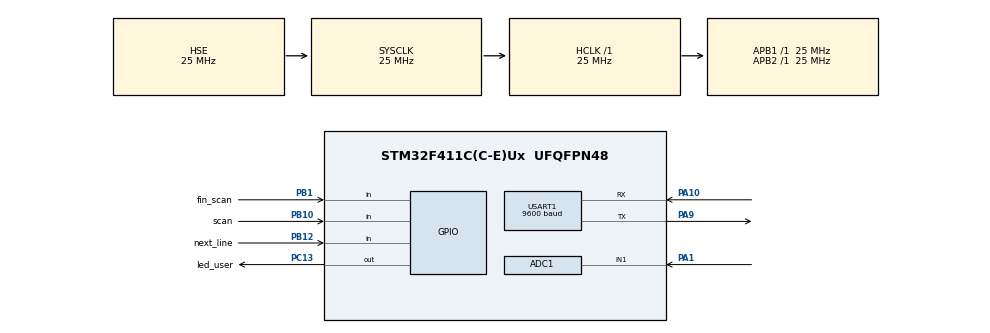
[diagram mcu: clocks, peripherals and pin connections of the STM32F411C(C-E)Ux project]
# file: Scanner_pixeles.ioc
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ADC1.Channel-7\#ChannelRegularConversion=ADC_CHANNEL_1
ADC1.NbrOfConversionFlag=1
ADC1.Rank-7\#ChannelRegularConversion=1
ADC1.SamplingTime-7\#ChannelRegularConversion=ADC_SAMPLETIME_480CYCLES
ADC1.master=1
Mcu.Family=STM32F4
Mcu.Name=STM32F411C(C-E)Ux
Mcu.Package=UFQFPN48
NVIC.PriorityGroup=NVIC_PRIORITYGROUP_4
NVIC.USART1_IRQn=true\:0\:0\:false\:false\:true\:true\:true\:true
PA1.GPIO_Mode=GPIO_MODE_ANALOG
PA1.GPIO_PuPd=GPIO_NOPULL
PA1.Signal=SharedAnalog_PA1
PA10.Mode=Asynchronous
PA10.Signal=USART1_RX
PA13.Mode=Serial_Wire
PA13.Signal=SYS_JTMS-SWDIO
PA14.Mode=Serial_Wire
PA14.Signal=SYS_JTCK-SWCLK
PA9.Mode=Asynchronous
PA9.Signal=USART1_TX
PB1.GPIO_Label=fin_scan
PB1.GPIO_PuPd=GPIO_PULLUP
PB1.Signal=GPIO_Input
PB10.GPIO_Label=scan
PB10.GPIO_PuPd=GPIO_PULLUP
PB10.Signal=GPIO_Input
PB12.GPIO_Label=next_line
PB12.GPIO_PuPd=GPIO_PULLUP
PB12.Signal=GPIO_Input
PC13-ANTI_TAMP.GPIO_Label=led_user
PC13-ANTI_TAMP.GPIO_ModeDefaultOutputPP=GPIO_MODE_OUTPUT_OD
PC13-ANTI_TAMP.GPIO_PuPd=GPIO_NOPULL
PC13-ANTI_TAMP.Signal=GPIO_Output
PC14-OSC32_IN.Mode=LSE-External-Oscillator
PC14-OSC32_IN.Signal=RCC_OSC32_IN
PC15-OSC32_OUT.Mode=LSE-External-Oscillator
PC15-OSC32_OUT.Signal=RCC_OSC32_OUT
PH0\ -\ OSC_IN.Mode=HSE-External-Oscillator
PH0\ -\ OSC_IN.Signal=RCC_OSC_IN
PH1\ -\ OSC_OUT.Mode=HSE-External-Oscillator
PH1\ -\ OSC_OUT.Signal=RCC_OSC_OUT
ProjectManager.HeapSize=0x200
ProjectManager.StackSize=0x400
ProjectManager.TargetToolchain=STM32CubeIDE
RCC.48MHZClocksFreq_Value=48000000
RCC.AHBFreq_Value=25000000
RCC.APB1Freq_Value=25000000
RCC.APB1TimFreq_Value=25000000
RCC.APB2Freq_Value=25000000
RCC.APB2TimFreq_Value=25000000
RCC.CortexFreq_Value=25000000
RCC.HCLKFreq_Value=25000000
RCC.HSE_VALUE=25000000
RCC.HSI_VALUE=16000000
RCC.SYSCLKFreq_VALUE=25000000
RCC.SYSCLKSource=RCC_SYSCLKSOURCE_HSE
RCC.VCOOutputFreq_Value=192000000
SH.SharedAnalog_PA1.0=GPIO_Analog
SH.SharedAnalog_PA1.1=ADC1_IN1,IN1
USART1.BaudRate=9600
USART1.VirtualMode=VM_ASYNC
board=custom

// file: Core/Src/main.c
/* USER CODE BEGIN Header */
/**
  ******************************************************************************
  * @file           : main.c
  * @brief          : Main program body
  ******************************************************************************
  * @attention
  *
  * Copyright (c) 2024 STMicroelectronics.
  * All rights reserved.
  *
  * This software is licensed under terms that can be found in the LICENSE file
  * in the root directory of this software component.
  * If no LICENSE file comes with this software, it is provided AS-IS.
  *
  ******************************************************************************
  */
/* USER CODE END Header */
#include "main.h"

/* USER CODE BEGIN Includes */
#include "stdio.h"
#include "string.h"
#include "stdint.h"
#include "stdlib.h"
/* USER CODE END Includes */

ADC_HandleTypeDef hadc1;

UART_HandleTypeDef huart1;

/* USER CODE BEGIN PV */
uint8_t latch; //transición de estados signal
uint16_t adc_lec; //almacena el raw del adc

uint16_t borde_negro = 0;
uint16_t borde_blanco = 0;

char msg[9]; //bufer uart
uint8_t mcu_byte; //buffer de entrada de mcu externo
/* USER CODE END PV */

void SystemClock_Config(void);
static void MX_GPIO_Init(void);
static void MX_ADC1_Init(void);
static void MX_USART1_UART_Init(void);

int main(void)
{

  /* MCU Configuration--------------------------------------------------------*/

  /* Reset of all peripherals, Initializes the Flash interface and the Systick. */
  HAL_Init();

  /* Configure the system clock */
  SystemClock_Config();

  /* Initialize all configured peripherals */
  MX_GPIO_Init();
  MX_ADC1_Init();
  MX_USART1_UART_Init();
  /* USER CODE BEGIN 2 */

  HAL_ADC_Start(&hadc1);
  HAL_UART_Receive_IT(&huart1, &mcu_byte, 1);

  //CALIBRAR
  for (int i = 0; i < 10; ++i) {
		  HAL_GPIO_TogglePin(led_user_GPIO_Port, led_user_Pin);
		  HAL_Delay(250);

		  HAL_ADC_Start(&hadc1);
		  HAL_ADC_PollForConversion(&hadc1, 25);//msec
		  borde_blanco += (HAL_ADC_GetValue(&hadc1)/10);
	  }

  borde_blanco += 1000;

  borde_negro = borde_blanco + 500;
  /* USER CODE END 2 */

  /* Infinite loop */
  while (1)
  {

    /* USER CODE BEGIN 3 */
	  latch = 1;
	  while(latch){//Eseramos que python acbe de crear sus cosas raras
		  HAL_GPIO_TogglePin(led_user_GPIO_Port, led_user_Pin);

		  //MANDA_FIN_CALABRIRACION
		  strcpy(msg,"all_ok\r\n");
		  HAL_UART_Transmit(&huart1, (uint8_t *)msg, strlen(msg), HAL_MAX_DELAY);
		  HAL_Delay(5000);
	  }

	  //ESCANEO
	  	  //scaneo horizontal
	  	  //scaneo sig
	  latch = 1;
	  while(latch){

		  if (!HAL_GPIO_ReadPin(scan_GPIO_Port, scan_Pin)) { //horizontal
			  HAL_GPIO_WritePin(led_user_GPIO_Port, led_user_Pin, 0);
			  HAL_Delay(250);

			  //Sensamos
			  HAL_ADC_Start(&hadc1);
			  HAL_ADC_PollForConversion(&hadc1, 25);//msec
			  adc_lec = HAL_ADC_GetValue(&hadc1);

			  if (adc_lec > borde_negro){
				  sprintf(msg,"%dh    \r\n",1);
			  }
			  if(adc_lec < borde_blanco){
				  sprintf(msg,"%dh    \r\n",0);
			  }

			  //Mandamos sensado
			  HAL_UART_Transmit(&huart1, (uint8_t *)msg, strlen(msg), HAL_MAX_DELAY);
		  }

		  if (!HAL_GPIO_ReadPin(next_line_GPIO_Port, next_line_Pin)) { //salto vertical
			  HAL_GPIO_WritePin(led_user_GPIO_Port, led_user_Pin, 0);
			  HAL_Delay(250);

			  strcpy(msg,"v   \r\n");

			  //Mandamos sensado
			  HAL_UART_Transmit(&huart1, (uint8_t *)msg, strlen(msg), HAL_MAX_DELAY);
		  }

		  if (!HAL_GPIO_ReadPin(fin_scan_GPIO_Port, fin_scan_Pin)) { //fin de la sesion
			  HAL_GPIO_WritePin(led_user_GPIO_Port, led_user_Pin, 0);
			  HAL_Delay(250);

			  //Mandamos sensado
			  strcpy(msg,"fin   \r\n");
			  HAL_UART_Transmit(&huart1, (uint8_t *)msg, strlen(msg), HAL_MAX_DELAY);
		  }

		  HAL_GPIO_WritePin(led_user_GPIO_Port, led_user_Pin, 1);

	  }
	  //AVANZA ESTADO

  }
  /* USER CODE END 3 */
}

void SystemClock_Config(void)
{
  RCC_OscInitTypeDef RCC_OscInitStruct = {0};
  RCC_ClkInitTypeDef RCC_ClkInitStruct = {0};

  /** Configure the main internal regulator output voltage
  */
  __HAL_RCC_PWR_CLK_ENABLE();
  __HAL_PWR_VOLTAGESCALING_CONFIG(PWR_REGULATOR_VOLTAGE_SCALE1);

  /** Initializes the RCC Oscillators according to the specified parameters
  * in the RCC_OscInitTypeDef structure.
  */
  RCC_OscInitStruct.OscillatorType = RCC_OSCILLATORTYPE_HSE;
  RCC_OscInitStruct.HSEState = RCC_HSE_ON;
  RCC_OscInitStruct.PLL.PLLState = RCC_PLL_NONE;
  if (HAL_RCC_OscConfig(&RCC_OscInitStruct) != HAL_OK)
  {
    Error_Handler();
  }

  /** Initializes the CPU, AHB and APB buses clocks
  */
  RCC_ClkInitStruct.ClockType = RCC_CLOCKTYPE_HCLK|RCC_CLOCKTYPE_SYSCLK
                              |RCC_CLOCKTYPE_PCLK1|RCC_CLOCKTYPE_PCLK2;
  RCC_ClkInitStruct.SYSCLKSource = RCC_SYSCLKSOURCE_HSE;
  RCC_ClkInitStruct.AHBCLKDivider = RCC_SYSCLK_DIV1;
  RCC_ClkInitStruct.APB1CLKDivider = RCC_HCLK_DIV1;
  RCC_ClkInitStruct.APB2CLKDivider = RCC_HCLK_DIV1;

  if (HAL_RCC_ClockConfig(&RCC_ClkInitStruct, FLASH_LATENCY_0) != HAL_OK)
  {
    Error_Handler();
  }
}

static void MX_ADC1_Init(void)
{

  ADC_ChannelConfTypeDef sConfig = {0};

  /** Configure the global features of the ADC (Clock, Resolution, Data Alignment and number of conversion)
  */
  hadc1.Instance = ADC1;
  hadc1.Init.ClockPrescaler = ADC_CLOCK_SYNC_PCLK_DIV2;
  hadc1.Init.Resolution = ADC_RESOLUTION_12B;
  hadc1.Init.ScanConvMode = DISABLE;
  hadc1.Init.ContinuousConvMode = DISABLE;
  hadc1.Init.DiscontinuousConvMode = DISABLE;
  hadc1.Init.ExternalTrigConvEdge = ADC_EXTERNALTRIGCONVEDGE_NONE;
  hadc1.Init.ExternalTrigConv = ADC_SOFTWARE_START;
  hadc1.Init.DataAlign = ADC_DATAALIGN_RIGHT;
  hadc1.Init.NbrOfConversion = 1;
  hadc1.Init.DMAContinuousRequests = DISABLE;
  hadc1.Init.EOCSelection = ADC_EOC_SINGLE_CONV;
  if (HAL_ADC_Init(&hadc1) != HAL_OK)
  {
    Error_Handler();
  }

  /** Configure for the selected ADC regular channel its corresponding rank in the sequencer and its sample time.
  */
  sConfig.Channel = ADC_CHANNEL_1;
  sConfig.Rank = 1;
  sConfig.SamplingTime = ADC_SAMPLETIME_480CYCLES;
  if (HAL_ADC_ConfigChannel(&hadc1, &sConfig) != HAL_OK)
  {
    Error_Handler();
  }

}

static void MX_USART1_UART_Init(void)
{

  huart1.Instance = USART1;
  huart1.Init.BaudRate = 9600;
  huart1.Init.WordLength = UART_WORDLENGTH_8B;
  huart1.Init.StopBits = UART_STOPBITS_1;
  huart1.Init.Parity = UART_PARITY_NONE;
  huart1.Init.Mode = UART_MODE_TX_RX;
  huart1.Init.HwFlowCtl = UART_HWCONTROL_NONE;
  huart1.Init.OverSampling = UART_OVERSAMPLING_16;
  if (HAL_UART_Init(&huart1) != HAL_OK)
  {
    Error_Handler();
  }

}

static void MX_GPIO_Init(void)
{
  GPIO_InitTypeDef GPIO_InitStruct = {0};

  /* GPIO Ports Clock Enable */
  __HAL_RCC_GPIOC_CLK_ENABLE();
  __HAL_RCC_GPIOH_CLK_ENABLE();
  __HAL_RCC_GPIOA_CLK_ENABLE();
  __HAL_RCC_GPIOB_CLK_ENABLE();

  /*Configure GPIO pin Output Level */
  HAL_GPIO_WritePin(led_user_GPIO_Port, led_user_Pin, GPIO_PIN_RESET);

  /*Configure GPIO pin : led_user_Pin */
  GPIO_InitStruct.Pin = led_user_Pin;
  GPIO_InitStruct.Mode = GPIO_MODE_OUTPUT_OD;
  GPIO_InitStruct.Pull = GPIO_NOPULL;
  GPIO_InitStruct.Speed = GPIO_SPEED_FREQ_LOW;
  HAL_GPIO_Init(led_user_GPIO_Port, &GPIO_InitStruct);

  /*Configure GPIO pins : fin_scan_Pin scan_Pin next_line_Pin */
  GPIO_InitStruct.Pin = fin_scan_Pin|scan_Pin|next_line_Pin;
  GPIO_InitStruct.Mode = GPIO_MODE_INPUT;
  GPIO_InitStruct.Pull = GPIO_PULLUP;
  HAL_GPIO_Init(GPIOB, &GPIO_InitStruct);

}

/* USER CODE BEGIN 4 */

//INTERRUPCION AL RECIBIR INFO
void HAL_UART_RxCpltCallback(UART_HandleTypeDef *huart)
{
	//HAL_UART_Transmit(&huart1, &mcu_byte, 1, 250); //ECO

	if (mcu_byte == 'n') {
		latch = 0;//salimos del estado precente
	}

	HAL_UART_Receive_IT(&huart1, &mcu_byte, 1); //Levantamos la bandera
}

/* USER CODE END 4 */

void Error_Handler(void)
{
  __disable_irq();
  while (1)
  {
  }
}
